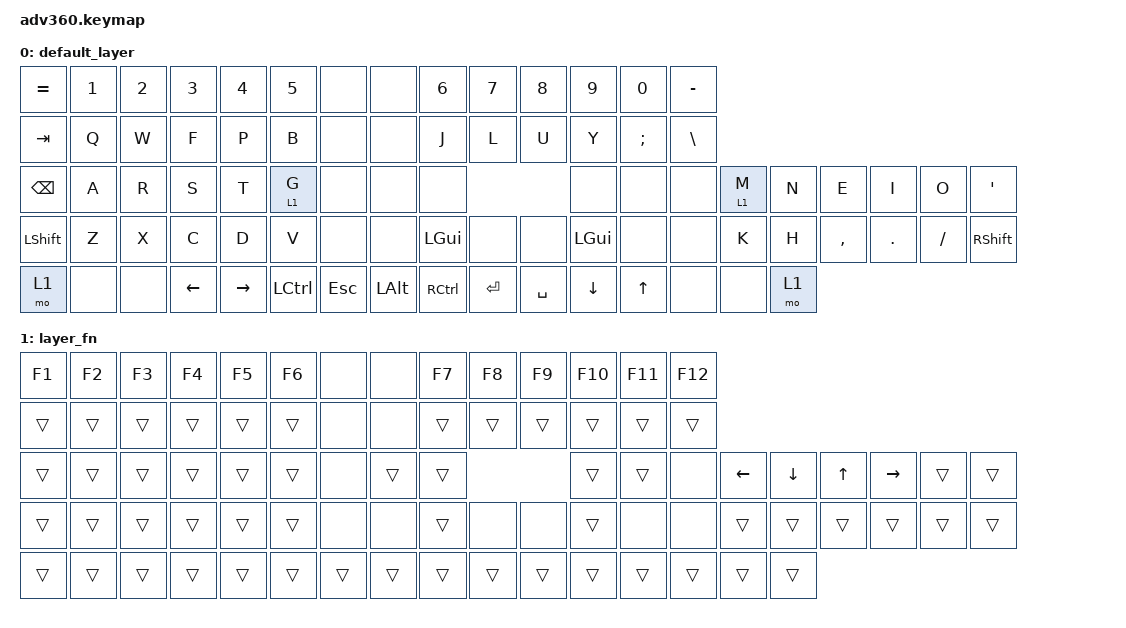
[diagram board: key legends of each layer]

/*
 * Copyright (c) 2020 The ZMK Contributors
 *
 * SPDX-License-Identifier: MIT
 */


/* THIS FILE WAS GENERATED!
 *
 * This file was generated automatically. You may or may not want to
 * edit it directly.
 */

#include <behaviors.dtsi>
#include <dt-bindings/zmk/keys.h>

/ {
  behaviors {
    #include "macros.dtsi"

    hm: homerow_mods {
        compatible = "zmk,behavior-hold-tap";
        label = "HOMEROW_MODS";
        #binding-cells = <2>;
        tapping-term-ms = <200>;
        quick_tap_ms = <175>;
        flavor = "tap-preferred";
        bindings = <&kp>, <&kp>;
    };
  };

    keymap {
        compatible = "zmk,keymap";


        default_layer {
            bindings = <
     &kp EQUAL  &kp N1  &kp N2    &kp N3     &kp N4     &kp N5                 &none         &none     &kp N6     &kp N7     &kp N8    &kp N9    &kp N0  &kp MINUS
       &kp TAB   &kp Q   &kp W     &kp F      &kp P      &kp B                 &none         &none      &kp J      &kp L      &kp U     &kp Y  &kp SEMI   &kp BSLH
 &kp BACKSPACE   &kp A   &kp R     &kp S      &kp T    &lt 1 G                 &none         &none      &none                           &none     &none      &none  &lt 1 M   &kp N      &kp E    &kp I     &kp O    &kp SQT
     &kp LSHFT   &kp Z   &kp X     &kp C      &kp D      &kp V                 &none         &none   &kp LGUI      &none      &none  &kp LGUI     &none      &none    &kp K   &kp H  &kp COMMA  &kp DOT  &kp FSLH  &kp RSHFT
         &mo 1   &none   &none  &kp LEFT  &kp RIGHT  &kp LCTRL            &kp ESCAPE  &kp LEFT_ALT  &kp RCTRL  &kp ENTER  &kp SPACE  &kp DOWN    &kp UP      &none    &none   &mo 1
            >;
        };

        layer_fn {
            bindings = <
 &kp F1  &kp F2  &kp F3  &kp F4  &kp F5  &kp F6             &none   &none  &kp F7  &kp F8  &kp F9  &kp F10  &kp F11  &kp F12
 &trans  &trans  &trans  &trans  &trans  &trans             &none   &none  &trans  &trans  &trans   &trans   &trans   &trans
 &trans  &trans  &trans  &trans  &trans  &trans             &none  &trans  &trans                   &trans   &trans    &none  &kp LEFT  &kp DOWN  &kp UP  &kp RIGHT  &trans  &trans
 &trans  &trans  &trans  &trans  &trans  &trans             &none   &none  &trans   &none   &none   &trans    &none    &none    &trans    &trans  &trans     &trans  &trans  &trans
 &trans  &trans  &trans  &trans  &trans  &trans            &trans  &trans  &trans  &trans  &trans   &trans   &trans   &trans    &trans    &trans
            >;
        };

    };
};
